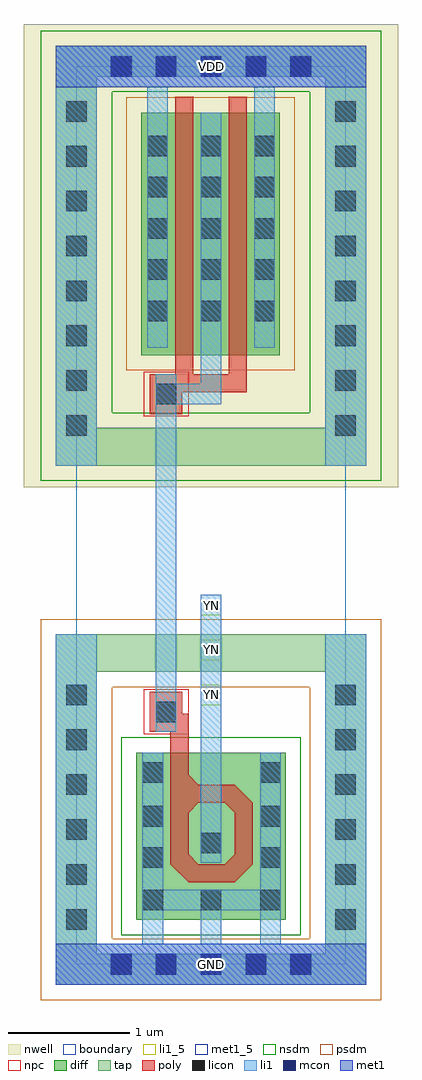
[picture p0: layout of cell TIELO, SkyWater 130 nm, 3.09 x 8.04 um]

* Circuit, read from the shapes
.subckt TIELO GND VDD YN
XM1 GND n1 YN GND sky130_fd_pr__nfet_01v8 w=2.56 l=0.1487
XM2 n1 n1 VDD VDD sky130_fd_pr__pfet_01v8 w=2 l=0.15 m=2
.ends

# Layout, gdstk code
from math import pi, radians
import gdstk
lib = gdstk.Library(unit=1e-6, precision=1e-09)
def R(c, l, rs):  # rectangles x0, y0, x1, y1
    for r in rs: c.add(gdstk.rectangle(r[:2], r[2:], *l))
def A(c, l, x, y, w, h, nx, ny, dx, dy):  # array of equal rectangles
    R(c, l, [(x+i*dx, y+j*dy, x+i*dx+w, y+j*dy+h) for i in range(nx) for j in range(ny)])
def P(c, l, *ps):  # polygons
    for p in ps: c.add(gdstk.Polygon(p, *l))
nwell = (64, 20)
diff = (65, 20)
tap = (65, 44)
poly = (66, 20)
licon = (66, 44)
li1_5 = (67, 5)
li1 = (67, 20)
mcon = (67, 44)
met1_5 = (68, 5)
met1 = (68, 20)
nsdm = (93, 44)
psdm = (94, 20)
npc = (95, 20)
boundary = (235, 4)

diff_ring_side = lib.new_cell('diff_ring_side')
R(diff_ring_side, nwell, [(-0.435,3.93,0.435,7.75)])
R(diff_ring_side, tap, [(-0.17,-0.17,0.17,2.72), (-0.17,4.11,0.17,7.57)])
A(diff_ring_side, licon, -0.085, 0.285, 0.17, 0.17, 1, 6, 0, 0.37)
A(diff_ring_side, licon, -0.085, 4.355, 0.17, 0.17, 1, 8, 0, 0.37)
R(diff_ring_side, li1, [(-0.17,-0.17,0.17,2.72), (-0.17,4.11,0.17,7.57)])
R(diff_ring_side, met1, [(-0.17,-0.17,0.17,0.17), (-0.17,7.23,0.17,7.57)])
R(diff_ring_side, nsdm, [(-0.295,3.985,0.295,7.695)])
R(diff_ring_side, psdm, [(-0.295,-0.295,0.295,2.845)])

poly_li1_contact = lib.new_cell('poly_li1_contact')
R(poly_li1_contact, poly, [(-0.16,-0.14,0.17,0.13)])
R(poly_li1_contact, licon, [(-0.08,-0.09,0.09,0.08)])
R(poly_li1_contact, li1, [(-0.16,-0.09,0.17,0.08)])
R(poly_li1_contact, npc, [(-0.18,-0.19,0.19,0.18)])

nmos_top = lib.new_cell('nmos_top')
R(nmos_top, diff, [(0,0,1.23,1.38)])
R(nmos_top, poly, [(0.42,0.31,0.8,0.46), (0.27,0.46,0.42,0.965), (0.8,0.46,0.95,0.965), (0.42,0.965,0.95,1.115), (0.8,1.115,0.95,1.54)])
P(nmos_top, poly, [(0.72,1.115),(0.8,1.115),(0.8,1.195)],
  [(0.27,0.965),(0.42,0.965),(0.42,1.115)],
  [(0.42,0.885),(0.42,0.965),(0.5,0.965)],
  [(0.72,0.965),(0.8,0.965),(0.8,0.885)],
  [(0.42,0.54),(0.42,0.46),(0.5,0.46)],
  [(0.72,0.46),(0.8,0.46),(0.8,0.54)],
  [(0.27,0.46),(0.42,0.46),(0.42,0.31)],
  [(0.8,0.31),(0.8,0.46),(0.95,0.46)])
R(nmos_top, licon, [(0.04,0.08,0.21,0.25), (0.53,0.08,0.7,0.25), (1.01,0.08,1.18,0.25), (0.04,0.43,0.21,0.6), (1.01,0.43,1.18,0.6), (0.53,0.55,0.7,0.72), (0.04,0.77,0.21,0.94), (1.01,0.77,1.18,0.94), (0.04,1.13,0.21,1.3), (1.01,1.13,1.18,1.3)])
R(nmos_top, li1, [(0.04,0,0.21,0.08), (1.01,0,1.18,0.08), (0.04,0.08,1.18,0.25), (0.04,0.25,0.21,1.38), (1.01,0.25,1.18,1.38), (0.53,0.47,0.7,0.805)])
R(nmos_top, nsdm, [(-0.125,-0.125,1.355,1.505)])

pmos2 = lib.new_cell('pmos2')
R(pmos2, nwell, [(0.26,-2.18,1.76,0.18)])
R(pmos2, diff, [(0.44,-2,1.58,0)])
R(pmos2, poly, [(0.72,-2.305,1.31,-2.155), (0.72,-2.155,0.87,0.13), (1.16,-2.155,1.31,0.13)])
A(pmos2, licon, 0.49, -1.38, 0.17, 0.17, 3, 4, 0.44, 0.34)
R(pmos2, li1, [(0.49,-1.465,0.66,0.21), (0.93,-1.465,1.1,0), (1.37,-1.465,1.54,0.21)])
R(pmos2, psdm, [(0.315,-2.125,1.705,0.125)])

tielo = lib.new_cell('TIELO')
R(tielo, nwell, [(0.435,3.93,1.785,3.945), (0.42,3.945,1.815,7.23), (0.17,7.23,2.05,7.57), (0.42,7.57,1.815,7.735), (0.435,7.735,1.785,7.75)])
A(tielo, diff, 0.585, 5.3, 0.17, 0.17, 3, 1, 0.44, 0)
R(tielo, tap, [(0.17,-0.17,2.05,0.085), (0.17,2.41,2.05,2.72), (0.17,4.11,2.05,4.42), (0.17,7.315,2.05,7.57)])
R(tielo, poly, [(0.775,1.905,0.925,2.065)])
A(tielo, licon, 0.285, -0.085, 0.17, 0.17, 5, 2, 0.37, 7.4)
A(tielo, licon, 0.585, 5.3, 0.17, 0.17, 3, 1, 0.44, 0)
A(tielo, li1_5, 1.025, 2.135, 0.17, 0.17, 1, 3, 0, 0.37)
R(tielo, li1, [(0.17,-0.17,2.05,0.17), (0.545,0.17,0.715,0.365), (1.025,0.17,1.195,0.445), (1.515,0.17,1.685,0.365), (1.025,1.17,1.195,3.045), (0.655,2.245,0.825,4.615), (0.655,4.615,1.195,4.785), (0.655,4.785,0.825,4.82), (1.025,4.785,1.195,5.555), (0.585,5.08,0.755,5.555), (1.465,5.08,1.635,5.555), (0.17,7.23,2.05,7.57)])
A(tielo, mcon, 0.285, -0.085, 0.17, 0.17, 5, 2, 0.37, 7.4)
R(tielo, met1_5, [(-0.17,-0.17,2.39,0.17), (-0.17,7.23,2.39,7.57)])
R(tielo, met1, [(-0.17,-0.17,2.39,0.17), (-0.17,7.23,2.39,7.57)])
R(tielo, nsdm, [(0.045,3.985,2.175,4.545), (0.045,7.19,2.175,7.695)])
R(tielo, psdm, [(0.045,-0.295,2.175,0.21), (0.045,2.285,2.175,2.845), (0.46,5.175,1.76,5.595)])
R(tielo, boundary, [(0,0,2.22,7.4)])
tielo.add(gdstk.Reference(diff_ring_side, (2.22,0)))
tielo.add(gdstk.Reference(diff_ring_side, (0,0)))
tielo.add(gdstk.Reference(poly_li1_contact, (0.745,2.085), rotation=3*pi/2))
tielo.add(gdstk.Reference(nmos_top, (1.725,0.365), rotation=pi, x_reflection=True))
tielo.add(gdstk.Reference(pmos2, (0.095,7.02)))
tielo.add(gdstk.Reference(poly_li1_contact, (0.745,4.705), rotation=3*pi/2))
tielo.add(gdstk.Label('YN', (1.11,2.96), layer=67, texttype=5))
tielo.add(gdstk.Label('YN', (1.11,2.59), layer=67, texttype=5))
tielo.add(gdstk.Label('YN', (1.11,2.22), layer=67, texttype=5))
tielo.add(gdstk.Label('VDD', (1.11,7.4), layer=68, texttype=5))
tielo.add(gdstk.Label('GND', (1.11,0), layer=68, texttype=5))

lib.write_gds('TIELO.gds')
